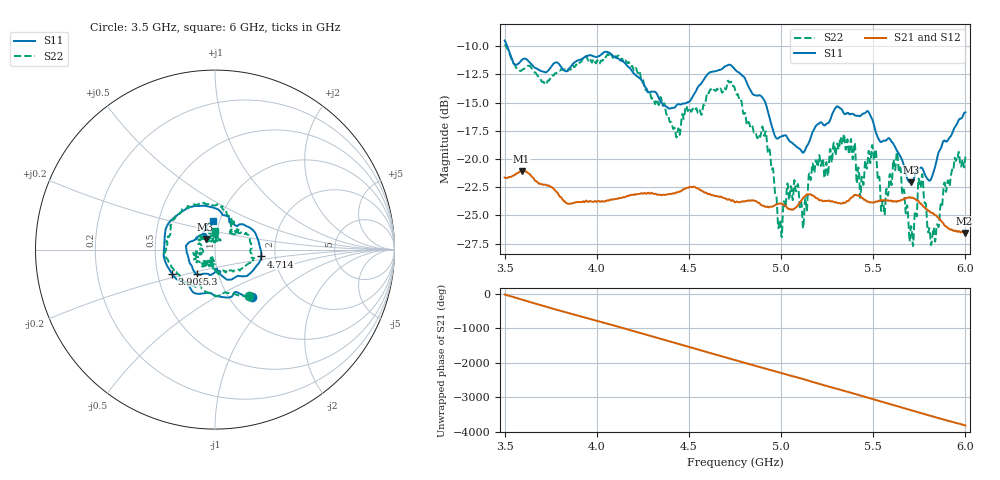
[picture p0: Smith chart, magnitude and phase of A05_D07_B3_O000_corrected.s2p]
! Created with skrf 1.9.0 (http://scikit-rf.org).
# Hz S RI R 50.0
!freq ReS11 ImS11 ReS21 ImS21 ReS12 ImS12 ReS22 ImS22
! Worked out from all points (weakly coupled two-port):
!   1601 points, 3.5 GHz to 6 GHz, reference 50 ohm
!   highest |S21| = -21.05 dB at 3.592 GHz (marker M1); lowest = -26.5 dB at 5.995 GHz (marker M2)
!   lowest |S11| = -22.1 dB at 5.705 GHz (marker M3), VSWR 1.17, Z = 44.7 + j5.3 ohm
!   |S11| at or under -10 dB: 3.514 GHz to end of sweep
!   |S22| runs from -27.7 to -9.8 dB; largest |S21 - S12| = 0.0011
!   S11 on the Smith chart (normalised r, x): 3.5 GHz: 1.27, -0.75; 3.909 GHz: 0.59, -0.17; 4.714 GHz: 1.69, -0.14; 5.3 GHz: 0.79, -0.22; 6 GHz: 0.93, +0.31
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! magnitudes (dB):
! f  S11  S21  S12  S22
! 3.5 GHz  -9.5  -21.6  -21.6  -9.8
! 3.592 GHz  -11.3  -21.1  -21.1  -12.2
! 3.909 GHz  -11.2  -23.8  -23.8  -11.4
! 3.917 GHz  -11.2  -23.8  -23.8  -11.3
! 4.334 GHz  -14.5  -23.2  -23.1  -15.2
! 4.441 GHz  -15.1  -23.0  -22.9  -17.4
! 4.714 GHz  -11.7  -23.6  -23.6  -13.1
! 4.75 GHz  -12.1  -23.8  -23.8  -13.9
! 4.909 GHz  -14.8  -24.2  -24.2  -18.0
! 4.994 GHz  -18.0  -24.0  -23.9  -25.4
! 5.044 GHz  -18.4  -24.4  -24.4  -23.6
! 5.128 GHz  -19.3  -23.3  -23.3  -24.0
! 5.167 GHz  -17.8  -23.2  -23.2  -20.8
! 5.3 GHz  -15.4  -23.8  -23.8  -19.1
! 5.553 GHz  -18.4  -23.7  -23.6  -23.7
! 5.584 GHz  -18.2  -23.7  -23.7  -22.4
! 5.638 GHz  -19.5  -23.7  -23.7  -20.9
! 5.705 GHz  -22.1  -23.5  -23.4  -26.0
! 5.756 GHz  -20.8  -23.9  -23.9  -22.5
! 5.825 GHz  -21.3  -24.8  -24.8  -26.3
! 5.995 GHz  -15.9  -26.5  -26.5  -20.6
! 6 GHz  -15.9  -26.5  -26.5  -19.8
